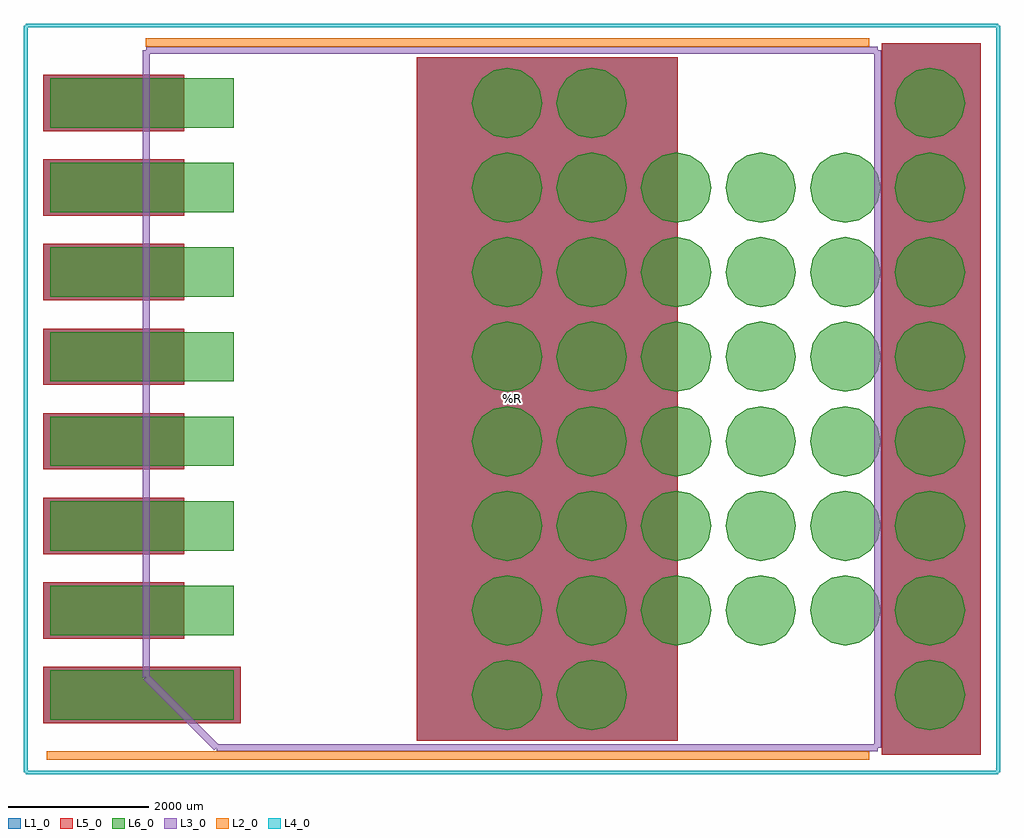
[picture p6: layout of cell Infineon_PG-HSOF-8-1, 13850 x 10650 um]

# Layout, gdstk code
import gdstk
lib = gdstk.Library(unit=1e-6, precision=1e-09)
def R(c, l, rs):  # rectangles x0, y0, x1, y1
    for r in rs: c.add(gdstk.rectangle(r[:2], r[2:], *l))
def A(c, l, x, y, w, h, nx, ny, dx, dy):  # array of equal rectangles
    R(c, l, [(x+i*dx, y+j*dy, x+i*dx+w, y+j*dy+h) for i in range(nx) for j in range(ny)])
def P(c, l, *ps):  # polygons
    for p in ps: c.add(gdstk.Polygon(p, *l))
L1_0 = (1, 0)
L2_0 = (2, 0)
L3_0 = (3, 0)
L4_0 = (4, 0)
L5_0 = (5, 0)
L6_0 = (6, 0)

infineon_pg_hsof_8_1 = lib.new_cell('Infineon_PG-HSOF-8-1')
A(infineon_pg_hsof_8_1, L1_0, -6650, -3400, 2000, 800, 1, 7, 0, 1200)
R(infineon_pg_hsof_8_1, L1_0, [(5250,-5050,6650,5050), (-1350,-4850,2350,4850), (-6650,-4600,-3850,-3800)])
A(infineon_pg_hsof_8_1, L5_0, -6650, -3400, 2000, 800, 1, 7, 0, 1200)
R(infineon_pg_hsof_8_1, L5_0, [(5250,-5050,6650,5050), (-1350,-4850,2350,4850), (-6650,-4600,-3850,-3800)])
A(infineon_pg_hsof_8_1, L6_0, -6550, -4550, 2600, 700, 1, 8, 0, 1200)
P(infineon_pg_hsof_8_1, L6_0, [(430,-4200),(392,-4009),(284,-3846),(121,-3738),(-70,-3700),(-261,-3738),(-424,-3846),(-532,-4009),(-570,-4200),(-532,-4391),(-424,-4554),(-261,-4662),(-70,-4700),(121,-4662),(284,-4554),(392,-4391)],
  [(1630,-4200),(1592,-4009),(1484,-3846),(1321,-3738),(1130,-3700),(939,-3738),(776,-3846),(668,-4009),(630,-4200),(668,-4391),(776,-4554),(939,-4662),(1130,-4700),(1321,-4662),(1484,-4554),(1592,-4391)],
  [(6430,-4200),(6392,-4009),(6284,-3846),(6121,-3738),(5930,-3700),(5739,-3738),(5576,-3846),(5468,-4009),(5430,-4200),(5468,-4391),(5576,-4554),(5739,-4662),(5930,-4700),(6121,-4662),(6284,-4554),(6392,-4391)],
  [(430,-3000),(392,-2809),(284,-2646),(121,-2538),(-70,-2500),(-261,-2538),(-424,-2646),(-532,-2809),(-570,-3000),(-532,-3191),(-424,-3354),(-261,-3462),(-70,-3500),(121,-3462),(284,-3354),(392,-3191)],
  [(1630,-3000),(1592,-2809),(1484,-2646),(1321,-2538),(1130,-2500),(939,-2538),(776,-2646),(668,-2809),(630,-3000),(668,-3191),(776,-3354),(939,-3462),(1130,-3500),(1321,-3462),(1484,-3354),(1592,-3191)],
  [(2830,-3000),(2792,-2809),(2684,-2646),(2521,-2538),(2330,-2500),(2139,-2538),(1976,-2646),(1868,-2809),(1830,-3000),(1868,-3191),(1976,-3354),(2139,-3462),(2330,-3500),(2521,-3462),(2684,-3354),(2792,-3191)],
  [(4030,-3000),(3992,-2809),(3884,-2646),(3721,-2538),(3530,-2500),(3339,-2538),(3176,-2646),(3068,-2809),(3030,-3000),(3068,-3191),(3176,-3354),(3339,-3462),(3530,-3500),(3721,-3462),(3884,-3354),(3992,-3191)],
  [(5230,-3000),(5192,-2809),(5084,-2646),(4921,-2538),(4730,-2500),(4539,-2538),(4376,-2646),(4268,-2809),(4230,-3000),(4268,-3191),(4376,-3354),(4539,-3462),(4730,-3500),(4921,-3462),(5084,-3354),(5192,-3191)],
  [(6430,-3000),(6392,-2809),(6284,-2646),(6121,-2538),(5930,-2500),(5739,-2538),(5576,-2646),(5468,-2809),(5430,-3000),(5468,-3191),(5576,-3354),(5739,-3462),(5930,-3500),(6121,-3462),(6284,-3354),(6392,-3191)],
  [(430,-1800),(392,-1609),(284,-1446),(121,-1338),(-70,-1300),(-261,-1338),(-424,-1446),(-532,-1609),(-570,-1800),(-532,-1991),(-424,-2154),(-261,-2262),(-70,-2300),(121,-2262),(284,-2154),(392,-1991)],
  [(1630,-1800),(1592,-1609),(1484,-1446),(1321,-1338),(1130,-1300),(939,-1338),(776,-1446),(668,-1609),(630,-1800),(668,-1991),(776,-2154),(939,-2262),(1130,-2300),(1321,-2262),(1484,-2154),(1592,-1991)],
  [(2830,-1800),(2792,-1609),(2684,-1446),(2521,-1338),(2330,-1300),(2139,-1338),(1976,-1446),(1868,-1609),(1830,-1800),(1868,-1991),(1976,-2154),(2139,-2262),(2330,-2300),(2521,-2262),(2684,-2154),(2792,-1991)],
  [(4030,-1800),(3992,-1609),(3884,-1446),(3721,-1338),(3530,-1300),(3339,-1338),(3176,-1446),(3068,-1609),(3030,-1800),(3068,-1991),(3176,-2154),(3339,-2262),(3530,-2300),(3721,-2262),(3884,-2154),(3992,-1991)],
  [(5230,-1800),(5192,-1609),(5084,-1446),(4921,-1338),(4730,-1300),(4539,-1338),(4376,-1446),(4268,-1609),(4230,-1800),(4268,-1991),(4376,-2154),(4539,-2262),(4730,-2300),(4921,-2262),(5084,-2154),(5192,-1991)],
  [(6430,-1800),(6392,-1609),(6284,-1446),(6121,-1338),(5930,-1300),(5739,-1338),(5576,-1446),(5468,-1609),(5430,-1800),(5468,-1991),(5576,-2154),(5739,-2262),(5930,-2300),(6121,-2262),(6284,-2154),(6392,-1991)],
  [(430,-600),(392,-409),(284,-246),(121,-138),(-70,-100),(-261,-138),(-424,-246),(-532,-409),(-570,-600),(-532,-791),(-424,-954),(-261,-1062),(-70,-1100),(121,-1062),(284,-954),(392,-791)],
  [(1630,-600),(1592,-409),(1484,-246),(1321,-138),(1130,-100),(939,-138),(776,-246),(668,-409),(630,-600),(668,-791),(776,-954),(939,-1062),(1130,-1100),(1321,-1062),(1484,-954),(1592,-791)],
  [(2830,-600),(2792,-409),(2684,-246),(2521,-138),(2330,-100),(2139,-138),(1976,-246),(1868,-409),(1830,-600),(1868,-791),(1976,-954),(2139,-1062),(2330,-1100),(2521,-1062),(2684,-954),(2792,-791)],
  [(4030,-600),(3992,-409),(3884,-246),(3721,-138),(3530,-100),(3339,-138),(3176,-246),(3068,-409),(3030,-600),(3068,-791),(3176,-954),(3339,-1062),(3530,-1100),(3721,-1062),(3884,-954),(3992,-791)],
  [(5230,-600),(5192,-409),(5084,-246),(4921,-138),(4730,-100),(4539,-138),(4376,-246),(4268,-409),(4230,-600),(4268,-791),(4376,-954),(4539,-1062),(4730,-1100),(4921,-1062),(5084,-954),(5192,-791)],
  [(6430,-600),(6392,-409),(6284,-246),(6121,-138),(5930,-100),(5739,-138),(5576,-246),(5468,-409),(5430,-600),(5468,-791),(5576,-954),(5739,-1062),(5930,-1100),(6121,-1062),(6284,-954),(6392,-791)],
  [(430,600),(392,791),(284,954),(121,1062),(-70,1100),(-261,1062),(-424,954),(-532,791),(-570,600),(-532,409),(-424,246),(-261,138),(-70,100),(121,138),(284,246),(392,409)],
  [(1630,600),(1592,791),(1484,954),(1321,1062),(1130,1100),(939,1062),(776,954),(668,791),(630,600),(668,409),(776,246),(939,138),(1130,100),(1321,138),(1484,246),(1592,409)],
  [(2830,600),(2792,791),(2684,954),(2521,1062),(2330,1100),(2139,1062),(1976,954),(1868,791),(1830,600),(1868,409),(1976,246),(2139,138),(2330,100),(2521,138),(2684,246),(2792,409)],
  [(4030,600),(3992,791),(3884,954),(3721,1062),(3530,1100),(3339,1062),(3176,954),(3068,791),(3030,600),(3068,409),(3176,246),(3339,138),(3530,100),(3721,138),(3884,246),(3992,409)],
  [(5230,600),(5192,791),(5084,954),(4921,1062),(4730,1100),(4539,1062),(4376,954),(4268,791),(4230,600),(4268,409),(4376,246),(4539,138),(4730,100),(4921,138),(5084,246),(5192,409)],
  [(6430,600),(6392,791),(6284,954),(6121,1062),(5930,1100),(5739,1062),(5576,954),(5468,791),(5430,600),(5468,409),(5576,246),(5739,138),(5930,100),(6121,138),(6284,246),(6392,409)],
  [(430,1800),(392,1991),(284,2154),(121,2262),(-70,2300),(-261,2262),(-424,2154),(-532,1991),(-570,1800),(-532,1609),(-424,1446),(-261,1338),(-70,1300),(121,1338),(284,1446),(392,1609)],
  [(1630,1800),(1592,1991),(1484,2154),(1321,2262),(1130,2300),(939,2262),(776,2154),(668,1991),(630,1800),(668,1609),(776,1446),(939,1338),(1130,1300),(1321,1338),(1484,1446),(1592,1609)],
  [(2830,1800),(2792,1991),(2684,2154),(2521,2262),(2330,2300),(2139,2262),(1976,2154),(1868,1991),(1830,1800),(1868,1609),(1976,1446),(2139,1338),(2330,1300),(2521,1338),(2684,1446),(2792,1609)],
  [(4030,1800),(3992,1991),(3884,2154),(3721,2262),(3530,2300),(3339,2262),(3176,2154),(3068,1991),(3030,1800),(3068,1609),(3176,1446),(3339,1338),(3530,1300),(3721,1338),(3884,1446),(3992,1609)],
  [(5230,1800),(5192,1991),(5084,2154),(4921,2262),(4730,2300),(4539,2262),(4376,2154),(4268,1991),(4230,1800),(4268,1609),(4376,1446),(4539,1338),(4730,1300),(4921,1338),(5084,1446),(5192,1609)],
  [(6430,1800),(6392,1991),(6284,2154),(6121,2262),(5930,2300),(5739,2262),(5576,2154),(5468,1991),(5430,1800),(5468,1609),(5576,1446),(5739,1338),(5930,1300),(6121,1338),(6284,1446),(6392,1609)],
  [(430,3000),(392,3191),(284,3354),(121,3462),(-70,3500),(-261,3462),(-424,3354),(-532,3191),(-570,3000),(-532,2809),(-424,2646),(-261,2538),(-70,2500),(121,2538),(284,2646),(392,2809)],
  [(1630,3000),(1592,3191),(1484,3354),(1321,3462),(1130,3500),(939,3462),(776,3354),(668,3191),(630,3000),(668,2809),(776,2646),(939,2538),(1130,2500),(1321,2538),(1484,2646),(1592,2809)],
  [(2830,3000),(2792,3191),(2684,3354),(2521,3462),(2330,3500),(2139,3462),(1976,3354),(1868,3191),(1830,3000),(1868,2809),(1976,2646),(2139,2538),(2330,2500),(2521,2538),(2684,2646),(2792,2809)],
  [(4030,3000),(3992,3191),(3884,3354),(3721,3462),(3530,3500),(3339,3462),(3176,3354),(3068,3191),(3030,3000),(3068,2809),(3176,2646),(3339,2538),(3530,2500),(3721,2538),(3884,2646),(3992,2809)],
  [(5230,3000),(5192,3191),(5084,3354),(4921,3462),(4730,3500),(4539,3462),(4376,3354),(4268,3191),(4230,3000),(4268,2809),(4376,2646),(4539,2538),(4730,2500),(4921,2538),(5084,2646),(5192,2809)],
  [(6430,3000),(6392,3191),(6284,3354),(6121,3462),(5930,3500),(5739,3462),(5576,3354),(5468,3191),(5430,3000),(5468,2809),(5576,2646),(5739,2538),(5930,2500),(6121,2538),(6284,2646),(6392,2809)],
  [(430,4200),(392,4391),(284,4554),(121,4662),(-70,4700),(-261,4662),(-424,4554),(-532,4391),(-570,4200),(-532,4009),(-424,3846),(-261,3738),(-70,3700),(121,3738),(284,3846),(392,4009)],
  [(1630,4200),(1592,4391),(1484,4554),(1321,4662),(1130,4700),(939,4662),(776,4554),(668,4391),(630,4200),(668,4009),(776,3846),(939,3738),(1130,3700),(1321,3738),(1484,3846),(1592,4009)],
  [(6430,4200),(6392,4391),(6284,4554),(6121,4662),(5930,4700),(5739,4662),(5576,4554),(5468,4391),(5430,4200),(5468,4009),(5576,3846),(5739,3738),(5930,3700),(6121,3738),(6284,3846),(6392,4009)])
infineon_pg_hsof_8_1.add(gdstk.FlexPath([(-4188,-4950),(-5188,-3950)], 100, ends="flush", simple_path=True, layer=3, datatype=0))  # L3_0
infineon_pg_hsof_8_1.add(gdstk.FlexPath([(6900,-5300),(6900,5300)], 50, ends="flush", simple_path=True, layer=4, datatype=0))  # L4_0
infineon_pg_hsof_8_1.add(gdstk.FlexPath([(-6900,5300),(-6900,-5300)], 50, ends="flush", simple_path=True, layer=4, datatype=0))  # L4_0
infineon_pg_hsof_8_1.add(gdstk.FlexPath([(-6900,5300),(6900,5300)], 50, ends="flush", simple_path=True, layer=4, datatype=0))  # L4_0
infineon_pg_hsof_8_1.add(gdstk.FlexPath([(6900,-5300),(-6900,-5300)], 50, ends="flush", simple_path=True, layer=4, datatype=0))  # L4_0
infineon_pg_hsof_8_1.add(gdstk.FlexPath([(-5200,5060),(5070,5060)], 120, ends="flush", simple_path=True, layer=2, datatype=0))  # L2_0
infineon_pg_hsof_8_1.add(gdstk.FlexPath([(5070,-5060),(-6600,-5060)], 120, ends="flush", simple_path=True, layer=2, datatype=0))  # L2_0
infineon_pg_hsof_8_1.add(gdstk.FlexPath([(5188,-4950),(5188,4950)], 100, ends="flush", simple_path=True, layer=3, datatype=0))  # L3_0
infineon_pg_hsof_8_1.add(gdstk.FlexPath([(5188,4950),(-5188,4950)], 100, ends="flush", simple_path=True, layer=3, datatype=0))  # L3_0
infineon_pg_hsof_8_1.add(gdstk.FlexPath([(-5188,4950),(-5188,-3950)], 100, ends="flush", simple_path=True, layer=3, datatype=0))  # L3_0
infineon_pg_hsof_8_1.add(gdstk.FlexPath([(-4188,-4950),(5188,-4950)], 100, ends="flush", simple_path=True, layer=3, datatype=0))  # L3_0
infineon_pg_hsof_8_1.add(gdstk.Label('REF**', (0,-6000), layer=2, texttype=0))
infineon_pg_hsof_8_1.add(gdstk.Label('Infineon_PG-HSOF-8-1', (0,6000), layer=3, texttype=0))
infineon_pg_hsof_8_1.add(gdstk.Label('%R', (0,0), layer=3, texttype=0))

lib.write_gds('Infineon_PG-HSOF-8-1.gds')
